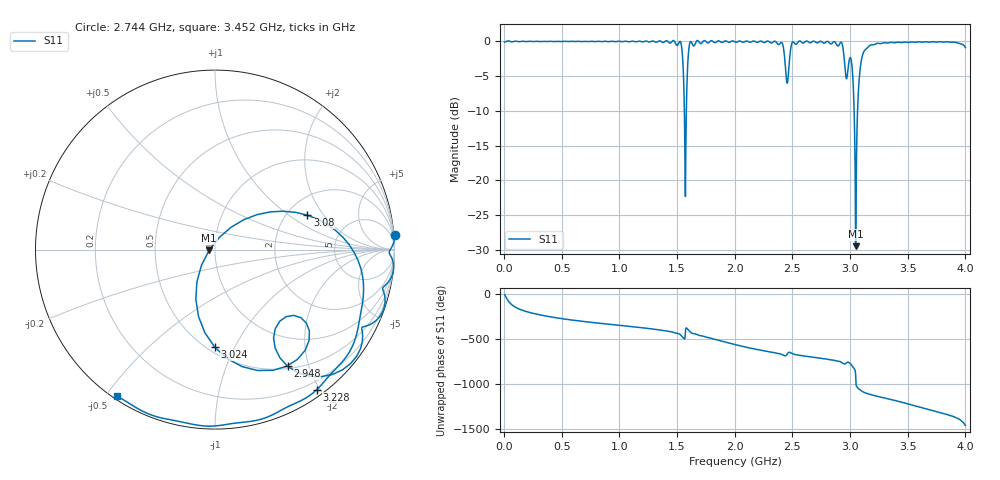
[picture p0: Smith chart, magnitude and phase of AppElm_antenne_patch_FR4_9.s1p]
! TOUCHSTONE file generated by CST MICROWAVE STUDIO
! Date and time: Tue Jun  7 21:57:06 2022
! Project name: AppElm_antenne_patch_FR4.cst
! Parameters = {L=45; W=58.5; e=0.035; h=1.6; lambda=0.190476; ls=138; w0=1.6; w1=0.533; ws=120; y0=20; y1=23.81}
! Header version: 2018
! Port assignment regex: !\s*Touchstone port\s*([0-9]+)\s*=\s*(CST MWS port|CST DS port)\s*([0-9]+|Zmin|Zmax)\s*\(\"(.*)\"\)(\s*mode\s*([0-9]+))?.*
! Touchstone port assignment:
! Touchstone port 1 = CST MWS port 1 ("")
# GHz S MA R 50
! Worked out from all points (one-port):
!   1000 points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, 4 MHz to 4 GHz, reference 50 ohm
!   lowest |S11| = -29.5 dB at 3.048 GHz (marker M1), VSWR 1.07, Z = 46.8 - j0.435 ohm
!   |S11| at or under -10 dB: 1.563 GHz to 1.58 GHz (17.21 MHz wide, 1.1 % of centre); 3.035 GHz to 3.065 GHz (29.75 MHz wide, 0.975 % of centre)
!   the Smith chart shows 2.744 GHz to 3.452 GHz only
!   S11 on the Smith chart (normalised r, x): 2.744 GHz: -1, +25; 2.948 GHz: 0.53, -1.67; 3.024 GHz: 0.54, -0.84; 3.08 GHz: 2.56, +1.41; 3.228 GHz: 0.09, -1.96; 3.452 GHz: 0.01, -0.53
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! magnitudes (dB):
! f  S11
! 4 MHz  -0.1
! 504 MHz  0.0
! 1.004 GHz  0.0
! 1.504 GHz  -0.5
! 1.536 GHz  -0.4
! 1.556 GHz  -5.3
! 1.572 GHz  -22.4
! 1.588 GHz  -4.9
! 1.604 GHz  -0.8
! 1.62 GHz  0.0
! 2.004 GHz  -0.1
! 2.4 GHz  -0.2
! 2.456 GHz  -6.0
! 2.504 GHz  -0.1
! 2.744 GHz  0.0
! 2.92 GHz  -0.1
! 2.948 GHz  -2.3
! 3.004 GHz  -2.4
! 3.024 GHz  -5.3
! 3.036 GHz  -10.6
! 3.048 GHz  -29.5
! 3.064 GHz  -10.3
! 3.08 GHz  -5.2
! 3.12 GHz  -1.4
! 3.228 GHz  -0.3
! 3.452 GHz  -0.2
! 3.504 GHz  -0.2
! 4 GHz  -0.9
